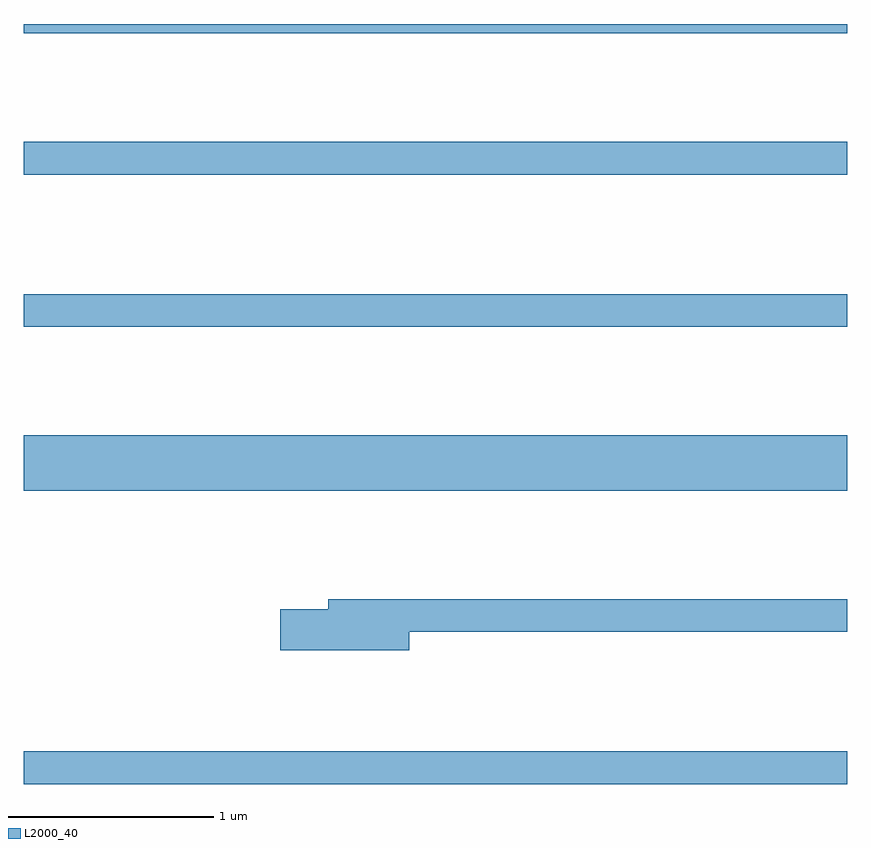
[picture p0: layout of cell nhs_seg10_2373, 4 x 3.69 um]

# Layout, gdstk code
import gdstk
lib = gdstk.Library(unit=1e-6, precision=1e-09)
def R(c, l, rs):  # rectangles x0, y0, x1, y1
    for r in rs: c.add(gdstk.rectangle(r[:2], r[2:], *l))
def P(c, l, *ps):  # polygons
    for p in ps: c.add(gdstk.Polygon(p, *l))
L2000_40 = (2000, 40)

nhs_seg10_2373 = lib.new_cell('nhs_seg10_2373')
R(nhs_seg10_2373, L2000_40, [(253.611,2216.831,257.611,2216.989), (253.611,2218.256,257.611,2218.524), (253.611,2219.051,257.611,2219.209), (253.611,2219.791,257.611,2219.949), (253.611,2220.476,257.611,2220.522)])
P(nhs_seg10_2373, L2000_40, [(255.484,2217.571),(257.611,2217.571),(257.611,2217.729),(255.091,2217.729),(255.091,2217.679),(254.856,2217.679),(254.856,2217.481),(255.484,2217.481)])

lib.write_gds('nhs_seg10_2373.gds')
